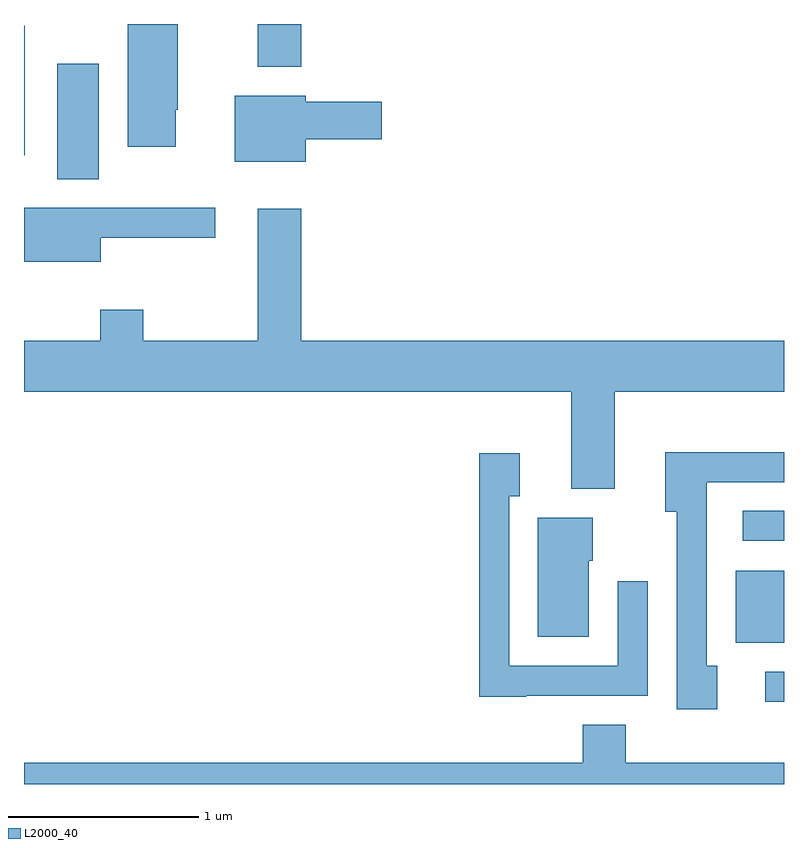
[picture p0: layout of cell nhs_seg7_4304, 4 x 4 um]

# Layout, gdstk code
import gdstk
lib = gdstk.Library(unit=1e-6, precision=1e-09)
def R(c, l, rs):  # rectangles x0, y0, x1, y1
    for r in rs: c.add(gdstk.rectangle(r[:2], r[2:], *l))
def P(c, l, *ps):  # polygons
    for p in ps: c.add(gdstk.Polygon(p, *l))
L2000_40 = (2000, 40)

nhs_seg7_4304 = lib.new_cell('nhs_seg7_4304')
R(nhs_seg7_4304, L2000_40, [(321.513,1712.686,321.611,1712.844), (321.356,1712.996,321.611,1713.374), (321.393,1713.531,321.611,1713.689), (317.786,1715.436,318.004,1716.044), (317.611,1715.561,317.614,1716.244), (318.841,1716.026,319.069,1716.252)])
P(nhs_seg7_4304, L2000_40, [(318.409,1715.8),(318.419,1715.8),(318.419,1716.252),(318.156,1716.252),(318.156,1715.606),(318.409,1715.606)],
  [(319.094,1715.646),(319.494,1715.646),(319.494,1715.844),(319.094,1715.844),(319.094,1715.874),(318.721,1715.874),(318.721,1715.526),(319.094,1715.526)],
  [(318.014,1715.126),(318.618,1715.126),(318.618,1715.284),(317.611,1715.284),(317.611,1715.001),(318.014,1715.001)],
  [(320.719,1714.316),(321.611,1714.316),(321.611,1714.584),(319.069,1714.584),(319.069,1715.279),(318.841,1715.279),(318.841,1714.584),(318.239,1714.584),(318.239,1714.749),(318.011,1714.749),(318.011,1714.584),(317.611,1714.584),(317.611,1714.316),(320.491,1714.316),(320.491,1713.806),(320.719,1713.806)],
  [(321.259,1712.874),(321.204,1712.874),(321.204,1713.841),(321.611,1713.841),(321.611,1713.999),(320.986,1713.999),(320.986,1713.686),(321.046,1713.686),(321.046,1712.646),(321.259,1712.646)],
  [(320.255,1712.716),(320.894,1712.716),(320.894,1713.318),(320.736,1713.318),(320.736,1712.874),(320.164,1712.874),(320.164,1713.766),(320.219,1713.766),(320.219,1713.994),(320.006,1713.994),(320.006,1712.711),(320.255,1712.711)],
  [(320.584,1713.426),(320.604,1713.426),(320.604,1713.654),(320.316,1713.654),(320.316,1713.026),(320.584,1713.026)],
  [(321.611,1712.364),(320.779,1712.364),(320.779,1712.564),(320.551,1712.564),(320.551,1712.364),(317.611,1712.364),(317.611,1712.252),(321.611,1712.252)])

lib.write_gds('nhs_seg7_4304.gds')
